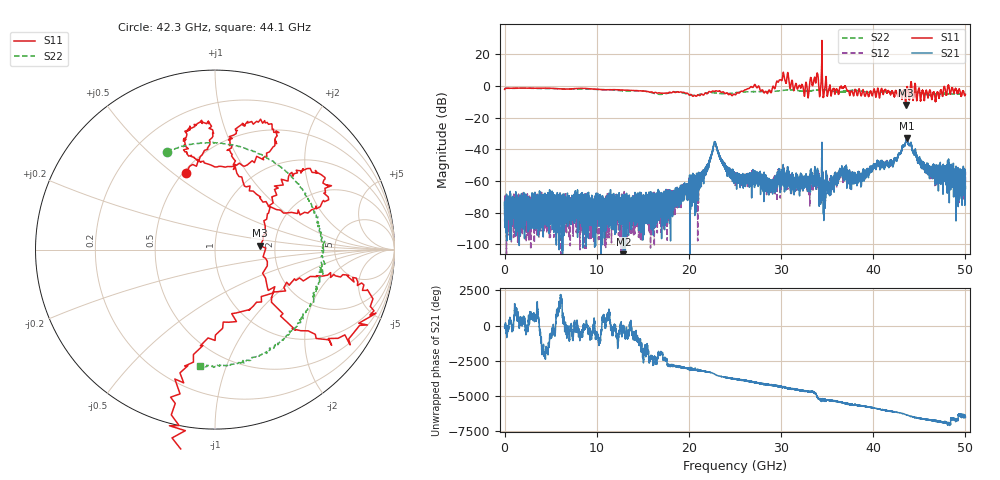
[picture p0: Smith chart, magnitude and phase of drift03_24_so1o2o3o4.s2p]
!Created with skrf (http://scikit-rf.org).
# Hz S RI R 50.0
!freq ReS11 ImS11 ReS21 ImS21 ReS12 ImS12 ReS22 ImS22
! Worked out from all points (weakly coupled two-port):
!   10000 points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, 5.3 MHz to 50 GHz, reference 50 ohm
!   highest |S21| = -32.95 dB at 43.65 GHz (marker M1); lowest = -113.0 dB at 12.89 GHz (marker M2)
!   lowest |S11| = -12.0 dB at 43.52 GHz (marker M3), VSWR 1.67, Z = 83.4 + j3.96 ohm
!   |S11| at or under -10 dB: 43.49003 GHz to 43.5538 GHz (63.77 MHz wide, 0.147 % of centre)
!   |S22| runs from -5.9 to -1.3 dB; largest |S21 - S12| = 0.0071
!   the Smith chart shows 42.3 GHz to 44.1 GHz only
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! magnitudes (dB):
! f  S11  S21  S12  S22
! 5.3 MHz  -2.1  -80.9  -75.6  -2.1
! 8.34 GHz  -1.5  -78.2  -80.1  -1.9
! 12.89 GHz  -2.5  -113.0  -79.5  -3.0
! 16.67 GHz  -4.4  -65.4  -76.6  -5.2
! 20.71 GHz  -6.2  -64.7  -57.9  -5.8
! 21.87 GHz  -4.6  -51.4  -53.6  -4.4
! 22.81 GHz  -3.4  -35.4  -35.4  -4.5
! 25.01 GHz  -5.5  -57.0  -57.6  -4.2
! 27.02 GHz  -0.3  -60.6  -58.4  -3.5
! 28.72 GHz  -2.5  -64.4  -64.7  -3.6
! 30.14 GHz  4.4  -52.7  -55.7  -2.8
! 32.74 GHz  2.0  -64.1  -60.2  -3.4
! 33.34 GHz  2.6  -60.4  -58.8  -2.9
! 33.82 GHz  4.0  -59.8  -58.2  -2.5
! 34.85 GHz  3.7  -62.2  -61.3  -2.4
! 36.5 GHz  -0.3  -52.9  -55.0  -3.8
! 38.48 GHz  -1.8  -55.9  -54.6  -3.1
! 41.67 GHz  -3.2  -51.4  -50.0  -3.7
! 43.52 GHz  -12.0  -35.5  -35.3  -4.3
! 43.65 GHz  -1.9  -33.0  -33.5  -4.1
! 46.31 GHz  -6.9  -51.3  -57.7  -5.6
! 50 GHz  -5.3  -63.9  -54.2  -5.0
